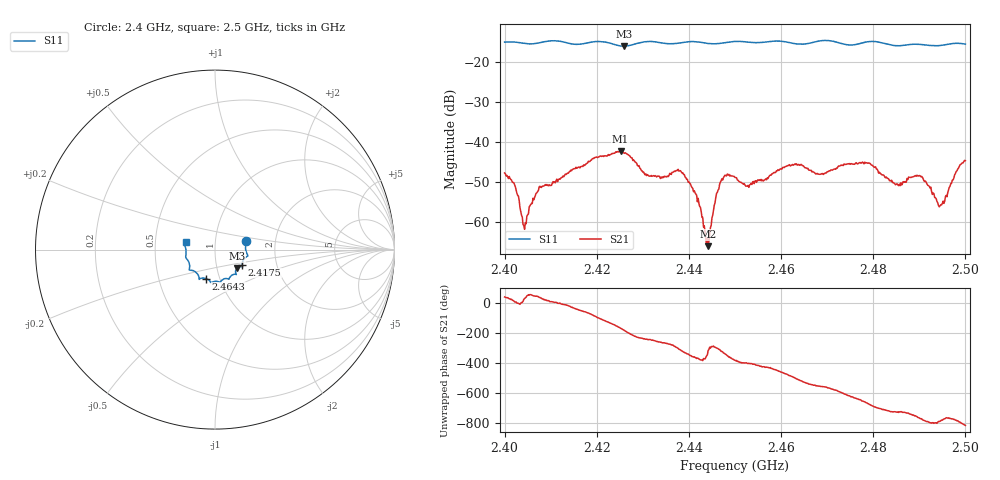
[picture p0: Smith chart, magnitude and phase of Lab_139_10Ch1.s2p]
# Hz S RI R 50
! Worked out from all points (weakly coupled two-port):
!   601 points, 2.4 GHz to 2.5 GHz, reference 50 ohm
!   highest |S21| = -42.30 dB at 2.4252 GHz (marker M1); lowest = -66.1 dB at 2.4442 GHz (marker M2)
!   lowest |S11| = -15.9 dB at 2.4258 GHz (marker M3), VSWR 1.38, Z = 62.3 - j13.2 ohm
!   |S11| at or under -10 dB: start of sweep to end of sweep
!   S12 and S22 are empty: the file has one direction only
!   S11 on the Smith chart (normalised r, x): 2.4 GHz: 1.41, +0.14; 2.4175 GHz: 1.34, -0.23; 2.4643 GHz: 0.86, -0.29; 2.5 GHz: 0.72, +0.06
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2.4e9  0.1727 0.0487  0.00327 0.00246  0 0  0 0
2.402e9  0.1753 0.0404  0.00304 0.000549  0 0  0 0
2.404333e9  0.1712 0.0216  0.000715 0.000364  0 0  0 0
2.407833e9  0.1763 -0.0186  0.00235 0.00134  0 0  0 0
2.416667e9  0.1529 -0.0738  0.00285 -0.00402  0 0  0 0
2.4175e9  0.1519 -0.0832  0.00239 -0.00457  0 0  0 0
2.425167e9  0.1263 -0.099  -0.00758 -0.00115  0 0  0 0
2.425833e9  0.1215 -0.1032  -0.00735 0.000341  0 0  0 0
2.433333e9  0.1133 -0.1373  -0.000457 0.0037  0 0  0 0
2.438667e9  0.0807 -0.1579  0.00342 0.00229  0 0  0 0
2.441667e9  0.0756 -0.1647  0.0021 -0.000479  0 0  0 0
2.444167e9  0.0622 -0.1608  0.000377 0.000318  0 0  0 0
2.447167e9  0.0395 -0.1696  0.00288 0.00192  0 0  0 0
2.45e9  0.0287 -0.1807  0.00326 -0.00151  0 0  0 0
2.452833e9  0.0182 -0.1782  0.00197 -0.00206  0 0  0 0
2.464333e9  -0.05 -0.161  -0.00496 -0.00171  0 0  0 0
2.466667e9  -0.076 -0.1594  -0.00419 0.000497  0 0  0 0
2.478667e9  -0.1393 -0.1151  0.00346 0.00423  0 0  0 0
2.483333e9  -0.1411 -0.0902  0.00345 -6.25e-05  0 0  0 0
2.490167e9  -0.1632 -0.0392  0.00229 -0.00299  0 0  0 0
2.4945e9  -0.1625 0.00389  0.000521 -0.00149  0 0  0 0
2.5e9  -0.1638 0.0434  -0.000877 -0.00577  0 0  0 0
